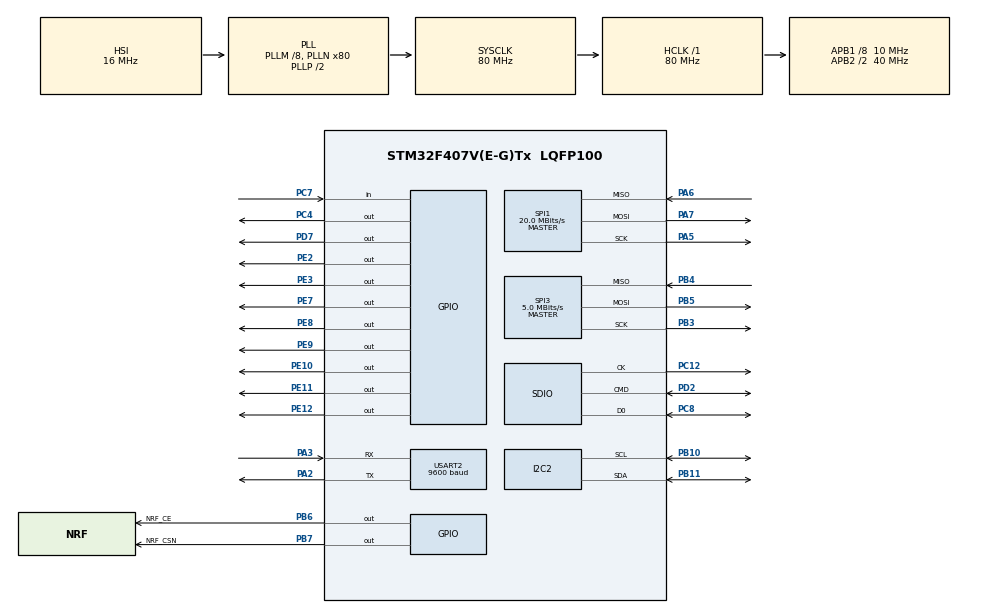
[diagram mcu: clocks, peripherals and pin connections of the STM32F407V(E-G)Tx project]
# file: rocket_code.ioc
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Dma.Request0=SDIO_RX
Dma.Request1=SDIO_TX
Dma.Request2=USART2_RX
Dma.Request3=USART2_TX
Dma.SDIO_RX.0.Direction=DMA_PERIPH_TO_MEMORY
Dma.SDIO_RX.0.FIFOMode=DMA_FIFOMODE_ENABLE
Dma.SDIO_RX.0.FIFOThreshold=DMA_FIFO_THRESHOLD_FULL
Dma.SDIO_RX.0.Instance=DMA2_Stream3
Dma.SDIO_RX.0.MemBurst=DMA_MBURST_INC4
Dma.SDIO_RX.0.MemDataAlignment=DMA_MDATAALIGN_WORD
Dma.SDIO_RX.0.MemInc=DMA_MINC_ENABLE
Dma.SDIO_RX.0.Mode=DMA_PFCTRL
Dma.SDIO_RX.0.PeriphBurst=DMA_PBURST_INC4
Dma.SDIO_RX.0.PeriphDataAlignment=DMA_PDATAALIGN_WORD
Dma.SDIO_RX.0.PeriphInc=DMA_PINC_DISABLE
Dma.SDIO_RX.0.Priority=DMA_PRIORITY_LOW
Dma.SDIO_TX.1.Direction=DMA_MEMORY_TO_PERIPH
Dma.SDIO_TX.1.FIFOMode=DMA_FIFOMODE_ENABLE
Dma.SDIO_TX.1.FIFOThreshold=DMA_FIFO_THRESHOLD_FULL
Dma.SDIO_TX.1.Instance=DMA2_Stream6
Dma.SDIO_TX.1.MemBurst=DMA_MBURST_INC4
Dma.SDIO_TX.1.MemDataAlignment=DMA_MDATAALIGN_WORD
Dma.SDIO_TX.1.MemInc=DMA_MINC_ENABLE
Dma.SDIO_TX.1.Mode=DMA_PFCTRL
Dma.SDIO_TX.1.PeriphBurst=DMA_PBURST_INC4
Dma.SDIO_TX.1.PeriphDataAlignment=DMA_PDATAALIGN_WORD
Dma.SDIO_TX.1.PeriphInc=DMA_PINC_DISABLE
Dma.SDIO_TX.1.Priority=DMA_PRIORITY_LOW
Dma.USART2_RX.2.Direction=DMA_PERIPH_TO_MEMORY
Dma.USART2_RX.2.FIFOMode=DMA_FIFOMODE_DISABLE
Dma.USART2_RX.2.Instance=DMA1_Stream5
Dma.USART2_RX.2.MemDataAlignment=DMA_MDATAALIGN_BYTE
Dma.USART2_RX.2.MemInc=DMA_MINC_ENABLE
Dma.USART2_RX.2.Mode=DMA_NORMAL
Dma.USART2_RX.2.PeriphDataAlignment=DMA_PDATAALIGN_BYTE
Dma.USART2_RX.2.PeriphInc=DMA_PINC_DISABLE
Dma.USART2_RX.2.Priority=DMA_PRIORITY_LOW
Dma.USART2_TX.3.Direction=DMA_MEMORY_TO_PERIPH
Dma.USART2_TX.3.FIFOMode=DMA_FIFOMODE_DISABLE
Dma.USART2_TX.3.Instance=DMA1_Stream6
Dma.USART2_TX.3.MemDataAlignment=DMA_MDATAALIGN_BYTE
Dma.USART2_TX.3.MemInc=DMA_MINC_ENABLE
Dma.USART2_TX.3.Mode=DMA_NORMAL
Dma.USART2_TX.3.PeriphDataAlignment=DMA_PDATAALIGN_BYTE
Dma.USART2_TX.3.PeriphInc=DMA_PINC_DISABLE
Dma.USART2_TX.3.Priority=DMA_PRIORITY_LOW
FATFS.BSP.number=1
FATFS.USE_DMA_CODE_SD=0
FATFS._MAX_SS=4096
FATFS._USE_EXPAND=1
FATFS._USE_LFN=2
FATFS0.BSP.STBoard=false
FATFS0.BSP.api=Unknown
FATFS0.BSP.instance=PC7
FATFS0.BSP.ip=GPIO
FATFS0.BSP.mode=Input
FATFS0.BSP.name=Detect_SDIO
FATFS0.BSP.solution=PC7
Mcu.Family=STM32F4
Mcu.Name=STM32F407V(E-G)Tx
Mcu.Package=LQFP100
NVIC.DMA1_Stream5_IRQn=true\:0\:0\:false\:false\:true\:false\:true\:true
NVIC.DMA1_Stream6_IRQn=true\:0\:0\:false\:false\:true\:false\:true\:true
NVIC.DMA2_Stream3_IRQn=true\:0\:0\:false\:false\:true\:false\:true\:true
NVIC.DMA2_Stream6_IRQn=true\:0\:0\:false\:false\:true\:false\:true\:true
NVIC.PriorityGroup=NVIC_PRIORITYGROUP_4
NVIC.SDIO_IRQn=true\:0\:0\:false\:false\:true\:true\:true\:true
PA13.Mode=Serial_Wire
PA13.Signal=SYS_JTMS-SWDIO
PA14.Mode=Serial_Wire
PA14.Signal=SYS_JTCK-SWCLK
PA2.Mode=Asynchronous
PA2.Signal=USART2_TX
PA3.Mode=Asynchronous
PA3.Signal=USART2_RX
PA5.Mode=Full_Duplex_Master
PA5.Signal=SPI1_SCK
PA6.Mode=Full_Duplex_Master
PA6.Signal=SPI1_MISO
PA7.Mode=Full_Duplex_Master
PA7.Signal=SPI1_MOSI
PB10.GPIO_Speed=GPIO_SPEED_FREQ_VERY_HIGH
PB10.Mode=I2C
PB10.Signal=I2C2_SCL
PB11.GPIO_Speed=GPIO_SPEED_FREQ_VERY_HIGH
PB11.Mode=I2C
PB11.Signal=I2C2_SDA
PB3.Mode=Full_Duplex_Master
PB3.Signal=SPI3_SCK
PB4.Mode=Full_Duplex_Master
PB4.Signal=SPI3_MISO
PB5.Mode=Full_Duplex_Master
PB5.Signal=SPI3_MOSI
PB6.GPIO_Label=NRF_CE
PB6.Signal=GPIO_Output
PB7.GPIO_Label=NRF_CSN
PB7.Signal=GPIO_Output
PC12.Mode=SD_1_bit
PC12.Signal=SDIO_CK
PC4.Signal=GPIO_Output
PC7.GPIO_PuPd=GPIO_PULLDOWN
PC7.Signal=GPIO_Input
PC8.GPIO_PuPd=GPIO_PULLUP
PC8.Mode=SD_1_bit
PC8.Signal=SDIO_D0
PD15.Signal=GPXTI15
PD2.GPIO_PuPd=GPIO_PULLUP
PD2.Mode=SD_1_bit
PD2.Signal=SDIO_CMD
PD7.PinState=GPIO_PIN_SET
PD7.Signal=GPIO_Output
PE10.Signal=GPIO_Output
PE11.Signal=GPIO_Output
PE12.Signal=GPIO_Output
PE2.Signal=GPIO_Output
PE3.Signal=GPIO_Output
PE7.Signal=GPIO_Output
PE8.Signal=GPIO_Output
PE9.Signal=GPIO_Output
PH0-OSC_IN.Mode=HSE-External-Oscillator
PH0-OSC_IN.Signal=RCC_OSC_IN
PH1-OSC_OUT.Mode=HSE-External-Oscillator
PH1-OSC_OUT.Signal=RCC_OSC_OUT
ProjectManager.HeapSize=0x400
ProjectManager.StackSize=0x800
ProjectManager.TargetToolchain=Makefile
RCC.48MHZClocksFreq_Value=40000000
RCC.AHBFreq_Value=80000000
RCC.APB1CLKDivider=RCC_HCLK_DIV8
RCC.APB1Freq_Value=10000000
RCC.APB1TimFreq_Value=20000000
RCC.APB2CLKDivider=RCC_HCLK_DIV2
RCC.APB2Freq_Value=40000000
RCC.APB2TimFreq_Value=80000000
RCC.CortexFreq_Value=80000000
RCC.HCLKFreq_Value=80000000
RCC.HSE_VALUE=8000000
RCC.HSI_VALUE=16000000
RCC.LSE_VALUE=32768
RCC.PLLM=8
RCC.PLLN=80
RCC.SYSCLKFreq_VALUE=80000000
RCC.SYSCLKSource=RCC_SYSCLKSOURCE_PLLCLK
RCC.VCOOutputFreq_Value=160000000
SDIO.ClockDiv=4
SPI1.CalculateBaudRate=20.0 MBits/s
SPI1.Direction=SPI_DIRECTION_2LINES
SPI1.Mode=SPI_MODE_MASTER
SPI1.VirtualType=VM_MASTER
SPI3.CalculateBaudRate=5.0 MBits/s
SPI3.Direction=SPI_DIRECTION_2LINES
SPI3.Mode=SPI_MODE_MASTER
SPI3.VirtualType=VM_MASTER
USART2.BaudRate=9600
USART2.VirtualMode=VM_ASYNC
VP_FATFS_VS_SDIO.Mode=SDIO
board=custom

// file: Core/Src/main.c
/* USER CODE BEGIN Header */
/**
  ******************************************************************************
  * @file           : main.c
  * @brief          : Main program body
  ******************************************************************************
  * @attention
  *
  * Copyright (c) 2024 STMicroelectronics.
  * All rights reserved.
  *
  * This software is licensed under terms that can be found in the LICENSE file
  * in the root directory of this software component.
  * If no LICENSE file comes with this software, it is provided AS-IS.
  *
  ******************************************************************************
  */
/* USER CODE END Header */
#include "main.h"
#include "fatfs.h"

/* USER CODE BEGIN Includes */
#include "NRF24L01.h"
#include "bno055_stm32.h"
#include "nmea_parse.h"
#include "pca9685.h"
#include "colir_one.h"
#include "bmp581.h"

/* USER CODE END Includes */

/* USER CODE BEGIN PD */
#define RxBuffer_SIZE 64  //configure uart receive buffer size
#define DataBuffer_SIZE 512 //gather a few rxBuffer frames before parsing
/* USER CODE END PD */

I2C_HandleTypeDef hi2c2;

SD_HandleTypeDef hsd;
DMA_HandleTypeDef hdma_sdio_rx;
DMA_HandleTypeDef hdma_sdio_tx;

SPI_HandleTypeDef hspi1;
SPI_HandleTypeDef hspi3;

UART_HandleTypeDef huart2;
DMA_HandleTypeDef hdma_usart2_rx;
DMA_HandleTypeDef hdma_usart2_tx;

void SystemClock_Config(void);
static void MX_GPIO_Init(void);
static void MX_DMA_Init(void);
static void MX_I2C2_Init(void);
static void MX_SPI3_Init(void);
static void MX_SDIO_SD_Init(void);
static void MX_SPI1_Init(void);
static void MX_USART2_UART_Init(void);

/* USER CODE BEGIN 0 */
uint8_t TxAddress[] = {0xEE,0xDD,0xCC,0xBB,0xAA};
uint8_t RxAddress[] = {0xAA,0xDD,0xCC,0xBB,0xAA};
char TxData[32]; // Max message length 32 bytes
uint8_t RxData[32];

char cmdSymbol;
char cmdParams[5][6];

uint32_t value_adc;
uint8_t write_logs = 0;

// Functions for UART receiving, based on the DMA receive function, implementations may vary
uint16_t oldPos = 0;
uint16_t newPos = 0;
uint8_t RxBuffer[RxBuffer_SIZE];
uint8_t DataBuffer[DataBuffer_SIZE];
//create a GPS data structure
GPS myData;

float zeroAltitude = 0;
struct bmp5_sensor_data bmpData = {0,0};
float apogee = 0;

colir_one_rocket_state rState;

void FigherLighter(uint8_t lighterNumber){
	uint16_t pinNumber = 0 | (1<<(6+lighterNumber));
	HAL_GPIO_WritePin(GPIOE, pinNumber, GPIO_PIN_SET);
	HAL_Delay(15);
	HAL_GPIO_WritePin(GPIOE, pinNumber, GPIO_PIN_RESET);
}

void LogData(char data[]){
	if(write_logs == 1)
		log_data(data);
}

void ParseReceivedCommand(char cmd[], uint8_t payloadSize)
{
	if(cmd[0] == '\0')
		return;

	cmdSymbol = cmd[0];
	int cmdCounter = 0;
	int cmdParamCounter = 0;
	for(uint8_t i = 2; i < payloadSize; i++){
		if(cmd[i] == ' '){
			cmdCounter++;
			cmdParamCounter = 0;
		}
		else{
			cmdParams[cmdCounter][cmdParamCounter] = cmd[i];
			cmdParamCounter++;
		}
	}

	if(cmdSymbol == 's'){ //format like "s {servoNumber} {servoAngle} {servoNumber} {servoAngle}"
		int servoNumber = atoi(cmdParams[0]);
		int servoAngle = atoi(cmdParams[1]);

		HAL_I2C_DeInit(&hi2c2);
		MX_I2C2_Init();

		  PCA9685_Init(&hi2c2);
		  PCA9685_SetPwmFrequency(50);

		PCA9685_STATUS servoAngleStatus = PCA9685_SetServoAngle(servoNumber - 1, servoAngle);

		/*if(cmdParams[2] != 0){
			servoNumber = atoi(cmdParams[2]);
			servoAngle = atoi(cmdParams[3]);
			PCA9685_SetServoAngle(servoNumber - 1, servoAngle);
		}*/
	}
	else if(cmdSymbol == 'l'){ //format like "s {servoNumber} {servoAngle}"
		int lighterNumber = atoi(cmdParams[0]);
		write_logs = 1;
		rState = COLIRONE_CRUISE;
		FigherLighter(lighterNumber);
	}
	else if(cmdSymbol == 'w' && cmdParams[0][0] == 'e'){
		write_logs= 1;
	}
	else if(cmdSymbol == 'w' && cmdParams[0][0] == 'd'){
		write_logs= 0;
	}
	else if(cmdSymbol == 'w' && cmdParams[0][0] == 's'){
		HAL_GPIO_WritePin(GPIOE, GPIO_PIN_2, GPIO_PIN_SET);
		read_logs_to_sd();
		HAL_GPIO_WritePin(GPIOE, GPIO_PIN_2, GPIO_PIN_RESET);
	}
	else if(cmdSymbol == 'r' && cmdParams[0][0] == 'a'){
		HAL_SPI_Init(&hspi1);
		int8_t err = getSensorData(&bmpData);
		zeroAltitude = calcAltitude(bmpData.pressure);
		apogee = 0;
		HAL_SPI_DeInit(&hspi1);
	}
	else if(cmdSymbol == 'r' && cmdParams[0][0] == 'l'){
		HAL_SPI_Init(&hspi1);
		reset_logs();
		HAL_SPI_DeInit(&hspi1);
	}
	LogData(cmd);
}

/*
 * UART buffer handler based on the DMA receive function, every implementation is valid,
 * as long as you pass a sufficiently long receive buffer to the library.
 * */
void HAL_UARTEx_RxEventCallback(UART_HandleTypeDef *huart, uint16_t Size)
{
    oldPos = newPos; //keep track of the last position in the buffer
    if(oldPos + Size > DataBuffer_SIZE){ //if the buffer is full, parse it, then reset the buffer

        uint16_t datatocopy = DataBuffer_SIZE-oldPos;  // find out how much space is left in the main buffer
        memcpy ((uint8_t *)DataBuffer+oldPos, RxBuffer, datatocopy);  // copy data in that remaining space

        oldPos = 0;  // point to the start of the buffer
        memcpy ((uint8_t *)DataBuffer, (uint8_t *)RxBuffer+datatocopy, (Size-datatocopy));  // copy the remaining data
        newPos = (Size-datatocopy);  // update the position
    }
    else{
        memcpy((uint8_t *)DataBuffer+oldPos, RxBuffer, Size); //copy received data to the buffer
        newPos = Size+oldPos; //update buffer position

    }
    HAL_UARTEx_ReceiveToIdle_DMA(&huart2, (uint8_t *)RxBuffer, RxBuffer_SIZE); //re-enable the DMA interrupt
    __HAL_DMA_DISABLE_IT(&hdma_usart2_rx, DMA_IT_HT); //disable the half transfer interrupt
}
/* USER CODE END 0 */

int main(void)
{

  /* MCU Configuration--------------------------------------------------------*/

  /* Reset of all peripherals, Initializes the Flash interface and the Systick. */
  HAL_Init();

  /* Configure the system clock */
  SystemClock_Config();

  /* Initialize all configured peripherals */
  MX_GPIO_Init();
  MX_DMA_Init();
  MX_I2C2_Init();
  MX_SPI3_Init();
  MX_SDIO_SD_Init();
  MX_FATFS_Init();
  MX_SPI1_Init();
  MX_USART2_UART_Init();
  /* USER CODE BEGIN 2 */
  HAL_UARTEx_ReceiveToIdle_DMA(&huart2, (uint8_t *)RxBuffer, RxBuffer_SIZE);
  __HAL_DMA_DISABLE_IT(&hdma_usart2_rx, DMA_IT_HT);

  //HAL_ADC_Start_DMA(&hadc1,(uint32_t*)&value_adc,1);

  HAL_GPIO_WritePin(GPIOE, GPIO_PIN_2, GPIO_PIN_SET);
  HAL_GPIO_WritePin(GPIOE, GPIO_PIN_3, GPIO_PIN_SET);

  colir_one_init(&hspi1);
  HAL_Delay(100);

  read_logs_to_sd();

  NRF24_Init();
  NRF24_TxRxMode(TxAddress, RxAddress, 76);
  NRF24_RxMode();

  bno055_assignI2C(&hi2c2);
  bno055_setup();
  bno055_setOperationModeNDOF();

  PCA9685_Init(&hi2c2);
  PCA9685_SetPwmFrequency(50);

  //PCA9685_SetServoAngle(0, 90);
  //PCA9685_SetServoAngle(1, 87);
  //PCA9685_SetServoAngle(2, 83);
  //PCA9685_SetServoAngle(3, 84);

  //PCA9685_SetServoAngle(7, 90);

  HAL_SPI_Init(&hspi1);
  while(beginSPI() != BMP5_OK)
  {
    // Wait a bit to see if connection is established
    HAL_Delay(1000);
  }
  HAL_Delay(1000);
  int8_t err = getSensorData(&bmpData);
  zeroAltitude = calcAltitude(bmpData.pressure);
  HAL_SPI_DeInit(&hspi1);

  rState = COLIRONE_READY_TO_LAUNCH;
  HAL_GPIO_WritePin(GPIOE, GPIO_PIN_2, GPIO_PIN_RESET);

  uint32_t lastRxMode = HAL_GetTick();
  uint32_t lastTimestamp = HAL_GetTick();
  bool rxMode = false;
  float VBatt;
  float lastAltitude = 0;
  float verticalVelocity = 0;
  float altitude = 0;
  flash_config* logsConfig = get_logs_config();

  double latitude = 0, longitude = 0;
  /* USER CODE END 2 */

  /* Infinite loop */
  while (1)
  {

    /* USER CODE BEGIN 3 */

	uint32_t timestamp = HAL_GetTick();
	bno055_vector_t orientation = bno055_getVectorEuler();
	bno055_vector_t linearAccel = bno055_getVectorLinearAccel();
	bno055_vector_t quaternion = bno055_getVectorQuaternion();
	bno055_vector_t gyro = bno055_getVectorGyroscope();
	logsConfig = get_logs_config();

	HAL_SPI_Init(&hspi1);
	int8_t err = getSensorData(&bmpData);
	HAL_SPI_DeInit(&hspi1);
	if(bmpData.pressure > 10000){
		altitude = calcAltitude(bmpData.pressure) - zeroAltitude;
		if(altitude > apogee)
			apogee = altitude;

		float deltaT = timestamp - lastTimestamp;
		if(deltaT != 0)
			verticalVelocity = (altitude - lastAltitude) / (deltaT / 1000);

		lastAltitude = altitude;
		lastTimestamp = timestamp;

		if(verticalVelocity < -3 && altitude > 5 && altitude < 150 && (rState == COLIRONE_CRUISE || rState == COLIRONE_SHUTES_DEPLOYED)){
			rState = COLIRONE_SHUTES_DEPLOYED;
			ParseReceivedCommand("s 8 90", 32);
		}
	}

	VBatt = (value_adc * 2 / 4095) * 7.4;

	nmea_parse(&myData, DataBuffer);
	latitude = myData.latitude;
	longitude = myData.longitude;
	if(longitude > 1000)
		longitude = longitude / 1000;
	if(myData.lonSide == 'W')
		longitude = -longitude;
	if(myData.latSide == 'S')
		latitude = -latitude;
	//ParseReceivedCommand("s 8 90", 32);
	HAL_Delay(10);
	if(!rxMode){
		NRF24_TxMode();
		memset(&TxData, 0, sizeof(TxData));
		sprintf(TxData, "p %d %f %f %d", timestamp, latitude, longitude, myData.satelliteCount);
		NRF24_Transmit((uint8_t*)TxData);
		LogData(TxData);

		HAL_Delay(15);
		memset(&TxData, 0, sizeof(TxData));
		sprintf(TxData, "h %d %.2f", timestamp, altitude);
		NRF24_Transmit((uint8_t*)TxData);
		LogData(TxData);

		HAL_Delay(15);
		memset(&TxData, 0, sizeof(TxData));
		sprintf(TxData, "v %d %.2f", timestamp, verticalVelocity);
		NRF24_Transmit((uint8_t*)TxData);
		LogData(TxData);

		HAL_Delay(15);
		memset(&TxData, 0, sizeof(TxData));
		sprintf(TxData, "o %d %.2f %.2f %.2f", timestamp, -orientation.x, -orientation.y, -orientation.z);
		NRF24_Transmit((uint8_t*)TxData);
		LogData(TxData);

		HAL_Delay(15);
		memset(&TxData, 0, sizeof(TxData));
		sprintf(TxData, "g %d %.2f %.2f %.2f", timestamp, gyro.x, gyro.y, gyro.z);
		NRF24_Transmit((uint8_t*)TxData);
		LogData(TxData);

		HAL_Delay(15);
		memset(&TxData, 0, sizeof(TxData));
		sprintf(TxData, "a %d %.2f %.2f %.2f", timestamp, linearAccel.x, linearAccel.y, linearAccel.z);
		NRF24_Transmit((uint8_t*)TxData);
		LogData(TxData);

		HAL_Delay(15);
		memset(&TxData, 0, sizeof(TxData));
		sprintf(TxData, "q %d %.2f %.2f %.2f %.2f", timestamp, quaternion.x, quaternion.y, quaternion.z, quaternion.w);
		NRF24_Transmit((uint8_t*)TxData);
		LogData(TxData);

		HAL_Delay(15);
		memset(&TxData, 0, sizeof(TxData));
		sprintf(TxData, "s %d %d %d %d", timestamp, write_logs, rState, logsConfig->last_log);
		NRF24_Transmit((uint8_t*)TxData);
		LogData(TxData);

		HAL_Delay(15);
		if(timestamp - lastRxMode > 500){
			memset(&TxData, 0, sizeof(TxData));
			sprintf(TxData, "c");
			NRF24_Transmit((uint8_t*)TxData);
			rxMode = true;
			NRF24_RxMode();
			lastRxMode = HAL_GetTick();
		}
	}
	else{
		if (isDataAvailable() == 1)
		{
			memset(&RxData, 0, sizeof(RxData));
			NRF24_Receive(RxData);
			rxMode = false;
			lastRxMode = HAL_GetTick();
			ParseReceivedCommand((char*)RxData, sizeof(RxData));
		}
		else if(timestamp - lastRxMode > 250){
			rxMode = false;
			lastRxMode = HAL_GetTick();
		}
	}

	HAL_Delay(70);
  }
  /* USER CODE END 3 */
}

void SystemClock_Config(void)
{
  RCC_OscInitTypeDef RCC_OscInitStruct = {0};
  RCC_ClkInitTypeDef RCC_ClkInitStruct = {0};

  /** Configure the main internal regulator output voltage
  */
  __HAL_RCC_PWR_CLK_ENABLE();
  __HAL_PWR_VOLTAGESCALING_CONFIG(PWR_REGULATOR_VOLTAGE_SCALE1);

  /** Initializes the RCC Oscillators according to the specified parameters
  * in the RCC_OscInitTypeDef structure.
  */
  RCC_OscInitStruct.OscillatorType = RCC_OSCILLATORTYPE_HSI;
  RCC_OscInitStruct.HSIState = RCC_HSI_ON;
  RCC_OscInitStruct.HSICalibrationValue = RCC_HSICALIBRATION_DEFAULT;
  RCC_OscInitStruct.PLL.PLLState = RCC_PLL_ON;
  RCC_OscInitStruct.PLL.PLLSource = RCC_PLLSOURCE_HSI;
  RCC_OscInitStruct.PLL.PLLM = 8;
  RCC_OscInitStruct.PLL.PLLN = 80;
  RCC_OscInitStruct.PLL.PLLP = RCC_PLLP_DIV2;
  RCC_OscInitStruct.PLL.PLLQ = 4;
  if (HAL_RCC_OscConfig(&RCC_OscInitStruct) != HAL_OK)
  {
    Error_Handler();
  }

  /** Initializes the CPU, AHB and APB buses clocks
  */
  RCC_ClkInitStruct.ClockType = RCC_CLOCKTYPE_HCLK|RCC_CLOCKTYPE_SYSCLK
                              |RCC_CLOCKTYPE_PCLK1|RCC_CLOCKTYPE_PCLK2;
  RCC_ClkInitStruct.SYSCLKSource = RCC_SYSCLKSOURCE_PLLCLK;
  RCC_ClkInitStruct.AHBCLKDivider = RCC_SYSCLK_DIV1;
  RCC_ClkInitStruct.APB1CLKDivider = RCC_HCLK_DIV8;
  RCC_ClkInitStruct.APB2CLKDivider = RCC_HCLK_DIV2;

  if (HAL_RCC_ClockConfig(&RCC_ClkInitStruct, FLASH_LATENCY_2) != HAL_OK)
  {
    Error_Handler();
  }
}

static void MX_I2C2_Init(void)
{

  hi2c2.Instance = I2C2;
  hi2c2.Init.ClockSpeed = 100000;
  hi2c2.Init.DutyCycle = I2C_DUTYCYCLE_2;
  hi2c2.Init.OwnAddress1 = 0;
  hi2c2.Init.AddressingMode = I2C_ADDRESSINGMODE_7BIT;
  hi2c2.Init.DualAddressMode = I2C_DUALADDRESS_DISABLE;
  hi2c2.Init.OwnAddress2 = 0;
  hi2c2.Init.GeneralCallMode = I2C_GENERALCALL_DISABLE;
  hi2c2.Init.NoStretchMode = I2C_NOSTRETCH_DISABLE;
  if (HAL_I2C_Init(&hi2c2) != HAL_OK)
  {
    Error_Handler();
  }

}

static void MX_SDIO_SD_Init(void)
{

  hsd.Instance = SDIO;
  hsd.Init.ClockEdge = SDIO_CLOCK_EDGE_RISING;
  hsd.Init.ClockBypass = SDIO_CLOCK_BYPASS_DISABLE;
  hsd.Init.ClockPowerSave = SDIO_CLOCK_POWER_SAVE_DISABLE;
  hsd.Init.BusWide = SDIO_BUS_WIDE_1B;
  hsd.Init.HardwareFlowControl = SDIO_HARDWARE_FLOW_CONTROL_DISABLE;
  hsd.Init.ClockDiv = 4;

}

static void MX_SPI1_Init(void)
{

  /* SPI1 parameter configuration*/
  hspi1.Instance = SPI1;
  hspi1.Init.Mode = SPI_MODE_MASTER;
  hspi1.Init.Direction = SPI_DIRECTION_2LINES;
  hspi1.Init.DataSize = SPI_DATASIZE_8BIT;
  hspi1.Init.CLKPolarity = SPI_POLARITY_LOW;
  hspi1.Init.CLKPhase = SPI_PHASE_1EDGE;
  hspi1.Init.NSS = SPI_NSS_SOFT;
  hspi1.Init.BaudRatePrescaler = SPI_BAUDRATEPRESCALER_2;
  hspi1.Init.FirstBit = SPI_FIRSTBIT_MSB;
  hspi1.Init.TIMode = SPI_TIMODE_DISABLE;
  hspi1.Init.CRCCalculation = SPI_CRCCALCULATION_DISABLE;
  hspi1.Init.CRCPolynomial = 10;
  if (HAL_SPI_Init(&hspi1) != HAL_OK)
  {
    Error_Handler();
  }

}

static void MX_SPI3_Init(void)
{

  /* SPI3 parameter configuration*/
  hspi3.Instance = SPI3;
  hspi3.Init.Mode = SPI_MODE_MASTER;
  hspi3.Init.Direction = SPI_DIRECTION_2LINES;
  hspi3.Init.DataSize = SPI_DATASIZE_8BIT;
  hspi3.Init.CLKPolarity = SPI_POLARITY_LOW;
  hspi3.Init.CLKPhase = SPI_PHASE_1EDGE;
  hspi3.Init.NSS = SPI_NSS_SOFT;
  hspi3.Init.BaudRatePrescaler = SPI_BAUDRATEPRESCALER_2;
  hspi3.Init.FirstBit = SPI_FIRSTBIT_MSB;
  hspi3.Init.TIMode = SPI_TIMODE_DISABLE;
  hspi3.Init.CRCCalculation = SPI_CRCCALCULATION_DISABLE;
  hspi3.Init.CRCPolynomial = 10;
  if (HAL_SPI_Init(&hspi3) != HAL_OK)
  {
    Error_Handler();
  }

}

static void MX_USART2_UART_Init(void)
{

  huart2.Instance = USART2;
  huart2.Init.BaudRate = 9600;
  huart2.Init.WordLength = UART_WORDLENGTH_8B;
  huart2.Init.StopBits = UART_STOPBITS_1;
  huart2.Init.Parity = UART_PARITY_NONE;
  huart2.Init.Mode = UART_MODE_TX_RX;
  huart2.Init.HwFlowCtl = UART_HWCONTROL_NONE;
  huart2.Init.OverSampling = UART_OVERSAMPLING_16;
  if (HAL_UART_Init(&huart2) != HAL_OK)
  {
    Error_Handler();
  }

}

static void MX_DMA_Init(void)
{

  /* DMA controller clock enable */
  __HAL_RCC_DMA2_CLK_ENABLE();
  __HAL_RCC_DMA1_CLK_ENABLE();

  /* DMA interrupt init */
  /* DMA1_Stream5_IRQn interrupt configuration */
  HAL_NVIC_SetPriority(DMA1_Stream5_IRQn, 0, 0);
  HAL_NVIC_EnableIRQ(DMA1_Stream5_IRQn);
  /* DMA1_Stream6_IRQn interrupt configuration */
  HAL_NVIC_SetPriority(DMA1_Stream6_IRQn, 0, 0);
  HAL_NVIC_EnableIRQ(DMA1_Stream6_IRQn);
  /* DMA2_Stream3_IRQn interrupt configuration */
  HAL_NVIC_SetPriority(DMA2_Stream3_IRQn, 0, 0);
  HAL_NVIC_EnableIRQ(DMA2_Stream3_IRQn);
  /* DMA2_Stream6_IRQn interrupt configuration */
  HAL_NVIC_SetPriority(DMA2_Stream6_IRQn, 0, 0);
  HAL_NVIC_EnableIRQ(DMA2_Stream6_IRQn);

}

static void MX_GPIO_Init(void)
{
  GPIO_InitTypeDef GPIO_InitStruct = {0};

  /* GPIO Ports Clock Enable */
  __HAL_RCC_GPIOE_CLK_ENABLE();
  __HAL_RCC_GPIOH_CLK_ENABLE();
  __HAL_RCC_GPIOA_CLK_ENABLE();
  __HAL_RCC_GPIOC_CLK_ENABLE();
  __HAL_RCC_GPIOB_CLK_ENABLE();
  __HAL_RCC_GPIOD_CLK_ENABLE();

  /*Configure GPIO pin Output Level */
  HAL_GPIO_WritePin(GPIOE, GPIO_PIN_2|GPIO_PIN_3|GPIO_PIN_7|GPIO_PIN_8
                          |GPIO_PIN_9|GPIO_PIN_10|GPIO_PIN_11|GPIO_PIN_12, GPIO_PIN_RESET);

  /*Configure GPIO pin Output Level */
  HAL_GPIO_WritePin(GPIOC, GPIO_PIN_4, GPIO_PIN_RESET);

  /*Configure GPIO pin Output Level */
  HAL_GPIO_WritePin(GPIOD, GPIO_PIN_7, GPIO_PIN_SET);

  /*Configure GPIO pin Output Level */
  HAL_GPIO_WritePin(GPIOB, NRF_CE_Pin|NRF_CSN_Pin, GPIO_PIN_RESET);

  /*Configure GPIO pins : PE2 PE3 PE7 PE8
                           PE9 PE10 PE11 PE12 */
  GPIO_InitStruct.Pin = GPIO_PIN_2|GPIO_PIN_3|GPIO_PIN_7|GPIO_PIN_8
                          |GPIO_PIN_9|GPIO_PIN_10|GPIO_PIN_11|GPIO_PIN_12;
  GPIO_InitStruct.Mode = GPIO_MODE_OUTPUT_PP;
  GPIO_InitStruct.Pull = GPIO_NOPULL;
  GPIO_InitStruct.Speed = GPIO_SPEED_FREQ_LOW;
  HAL_GPIO_Init(GPIOE, &GPIO_InitStruct);

  /*Configure GPIO pin : PC4 */
  GPIO_InitStruct.Pin = GPIO_PIN_4;
  GPIO_InitStruct.Mode = GPIO_MODE_OUTPUT_PP;
  GPIO_InitStruct.Pull = GPIO_NOPULL;
  GPIO_InitStruct.Speed = GPIO_SPEED_FREQ_LOW;
  HAL_GPIO_Init(GPIOC, &GPIO_InitStruct);

  /*Configure GPIO pin : PD15 */
  GPIO_InitStruct.Pin = GPIO_PIN_15;
  GPIO_InitStruct.Mode = GPIO_MODE_IT_RISING;
  GPIO_InitStruct.Pull = GPIO_NOPULL;
  HAL_GPIO_Init(GPIOD, &GPIO_InitStruct);

  /*Configure GPIO pin : PC7 */
  GPIO_InitStruct.Pin = GPIO_PIN_7;
  GPIO_InitStruct.Mode = GPIO_MODE_INPUT;
  GPIO_InitStruct.Pull = GPIO_PULLDOWN;
  HAL_GPIO_Init(GPIOC, &GPIO_InitStruct);

  /*Configure GPIO pin : PD7 */
  GPIO_InitStruct.Pin = GPIO_PIN_7;
  GPIO_InitStruct.Mode = GPIO_MODE_OUTPUT_PP;
  GPIO_InitStruct.Pull = GPIO_NOPULL;
  GPIO_InitStruct.Speed = GPIO_SPEED_FREQ_LOW;
  HAL_GPIO_Init(GPIOD, &GPIO_InitStruct);

  /*Configure GPIO pins : NRF_CE_Pin NRF_CSN_Pin */
  GPIO_InitStruct.Pin = NRF_CE_Pin|NRF_CSN_Pin;
  GPIO_InitStruct.Mode = GPIO_MODE_OUTPUT_PP;
  GPIO_InitStruct.Pull = GPIO_NOPULL;
  GPIO_InitStruct.Speed = GPIO_SPEED_FREQ_LOW;
  HAL_GPIO_Init(GPIOB, &GPIO_InitStruct);

}

void Error_Handler(void)
{
  __disable_irq();
  while (1)
  {
  }
}
